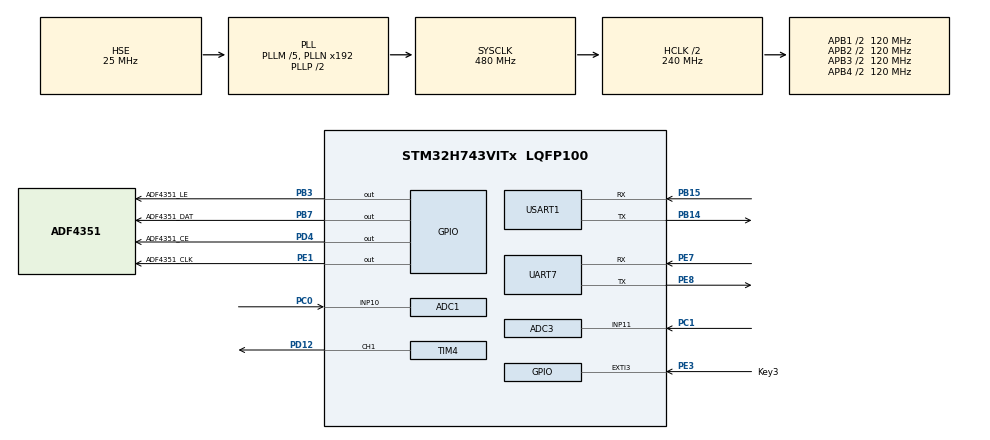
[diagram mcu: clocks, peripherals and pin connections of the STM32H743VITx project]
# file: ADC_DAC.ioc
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ADC1.Channel-1\#ChannelRegularConversion=ADC_CHANNEL_10
ADC1.ClockPrescaler=ADC_CLOCK_ASYNC_DIV1
ADC1.ConversionDataManagement=ADC_CONVERSIONDATA_DMA_CIRCULAR
ADC1.ExternalTrigConv=ADC_EXTERNALTRIG_T15_TRGO
ADC1.NbrOfConversion=1
ADC1.NbrOfConversionFlag=1
ADC1.OffsetNumber-1\#ChannelRegularConversion=ADC_OFFSET_NONE
ADC1.OffsetSignedSaturation-1\#ChannelRegularConversion=DISABLE
ADC1.OversamplingMode=ENABLE
ADC1.Rank-1\#ChannelRegularConversion=1
ADC1.Ratio=1024
ADC1.RightBitShift=ADC_RIGHTBITSHIFT_10
ADC1.SamplingTime-1\#ChannelRegularConversion=ADC_SAMPLETIME_810CYCLES_5
ADC1.master=1
ADC3.Channel-0\#ChannelRegularConversion=ADC_CHANNEL_11
ADC3.ConversionDataManagement=ADC_CONVERSIONDATA_DMA_CIRCULAR
ADC3.ExternalTrigConv=ADC_EXTERNALTRIG_T1_TRGO
ADC3.NbrOfConversionFlag=1
ADC3.OffsetNumber-0\#ChannelRegularConversion=ADC_OFFSET_NONE
ADC3.OffsetSignedSaturation-0\#ChannelRegularConversion=DISABLE
ADC3.Rank-0\#ChannelRegularConversion=1
ADC3.SamplingTime-0\#ChannelRegularConversion=ADC_SAMPLETIME_1CYCLE_5
CORTEX_M7.AccessPermission-Cortex_Memory_Protection_Unit_Region0_Settings=MPU_REGION_FULL_ACCESS
CORTEX_M7.AccessPermission-Cortex_Memory_Protection_Unit_Region1_Settings=MPU_REGION_FULL_ACCESS
CORTEX_M7.AccessPermission-Cortex_Memory_Protection_Unit_Region2_Settings=MPU_REGION_FULL_ACCESS
CORTEX_M7.AccessPermission-Cortex_Memory_Protection_Unit_Region3_Settings=MPU_REGION_FULL_ACCESS
CORTEX_M7.AccessPermission-Cortex_Memory_Protection_Unit_Region4_Settings=MPU_REGION_FULL_ACCESS
CORTEX_M7.AccessPermission_S-Cortex_Memory_Protection_Unit_Region1_Settings_S=MPU_REGION_FULL_ACCESS
CORTEX_M7.AccessPermission_S-Cortex_Memory_Protection_Unit_Region2_Settings_S=MPU_REGION_FULL_ACCESS
CORTEX_M7.AccessPermission_Spec=MPU_REGION_FULL_ACCESS
CORTEX_M7.BaseAddress-Cortex_Memory_Protection_Unit_Region0_Settings=0x24000000
CORTEX_M7.BaseAddress-Cortex_Memory_Protection_Unit_Region1_Settings=0x30000000
CORTEX_M7.BaseAddress-Cortex_Memory_Protection_Unit_Region2_Settings=0x30020000
CORTEX_M7.BaseAddress-Cortex_Memory_Protection_Unit_Region3_Settings=0x30040000
CORTEX_M7.BaseAddress-Cortex_Memory_Protection_Unit_Region4_Settings=0x38000000
CORTEX_M7.BaseAddress_S-Cortex_Memory_Protection_Unit_Region1_Settings_S=0x30000000
CORTEX_M7.BaseAddress_S-Cortex_Memory_Protection_Unit_Region2_Settings_S=0x30020000
CORTEX_M7.BaseAddress_Spec=0x24000000
CORTEX_M7.CPU_DCache=Enabled
CORTEX_M7.CPU_ICache=Enabled
CORTEX_M7.DisableExec_S-Cortex_Memory_Protection_Unit_Region1_Settings_S=MPU_INSTRUCTION_ACCESS_ENABLE
CORTEX_M7.DisableExec_S-Cortex_Memory_Protection_Unit_Region2_Settings_S=MPU_INSTRUCTION_ACCESS_ENABLE
CORTEX_M7.DisableExec_Spec=MPU_INSTRUCTION_ACCESS_ENABLE
CORTEX_M7.Enable-Cortex_Memory_Protection_Unit_Region0_Settings=MPU_REGION_ENABLE
CORTEX_M7.Enable-Cortex_Memory_Protection_Unit_Region1_Settings=MPU_REGION_ENABLE
CORTEX_M7.Enable-Cortex_Memory_Protection_Unit_Region2_Settings=MPU_REGION_ENABLE
CORTEX_M7.Enable-Cortex_Memory_Protection_Unit_Region3_Settings=MPU_REGION_ENABLE
CORTEX_M7.Enable-Cortex_Memory_Protection_Unit_Region4_Settings=MPU_REGION_ENABLE
CORTEX_M7.Enable_S-Cortex_Memory_Protection_Unit_Region1_Settings_S=MPU_REGION_ENABLE
CORTEX_M7.Enable_S-Cortex_Memory_Protection_Unit_Region2_Settings_S=MPU_REGION_ENABLE
CORTEX_M7.IsBufferable-Cortex_Memory_Protection_Unit_Region0_Settings=MPU_ACCESS_NOT_BUFFERABLE
CORTEX_M7.IsBufferable_S-Cortex_Memory_Protection_Unit_Region1_Settings_S=MPU_ACCESS_NOT_BUFFERABLE
CORTEX_M7.IsBufferable_Spec=MPU_ACCESS_BUFFERABLE
CORTEX_M7.IsCacheable-Cortex_Memory_Protection_Unit_Region0_Settings=MPU_ACCESS_NOT_CACHEABLE
CORTEX_M7.IsCacheable_S-Cortex_Memory_Protection_Unit_Region1_Settings_S=MPU_ACCESS_NOT_CACHEABLE
CORTEX_M7.IsCacheable_Spec=MPU_ACCESS_CACHEABLE
CORTEX_M7.IsShareable_Spec=MPU_ACCESS_NOT_SHAREABLE
CORTEX_M7.MPU_Control=MPU_PRIVILEGED_DEFAULT
CORTEX_M7.Size-Cortex_Memory_Protection_Unit_Region0_Settings=MPU_REGION_SIZE_512KB
CORTEX_M7.Size-Cortex_Memory_Protection_Unit_Region1_Settings=MPU_REGION_SIZE_128KB
CORTEX_M7.Size-Cortex_Memory_Protection_Unit_Region2_Settings=MPU_REGION_SIZE_128KB
CORTEX_M7.Size-Cortex_Memory_Protection_Unit_Region3_Settings=MPU_REGION_SIZE_32KB
CORTEX_M7.Size-Cortex_Memory_Protection_Unit_Region4_Settings=MPU_REGION_SIZE_64KB
CORTEX_M7.Size_S-Cortex_Memory_Protection_Unit_Region1_Settings_S=MPU_REGION_SIZE_128KB
CORTEX_M7.Size_S-Cortex_Memory_Protection_Unit_Region2_Settings_S=MPU_REGION_SIZE_128KB
CORTEX_M7.Size_Spec=MPU_REGION_SIZE_512KB
CORTEX_M7.SubRegionDisable_Spec=0x0
CORTEX_M7.TypeExtField-Cortex_Memory_Protection_Unit_Region0_Settings=MPU_TEX_LEVEL1
CORTEX_M7.TypeExtField-Cortex_Memory_Protection_Unit_Region1_Settings=MPU_TEX_LEVEL1
CORTEX_M7.TypeExtField-Cortex_Memory_Protection_Unit_Region2_Settings=MPU_TEX_LEVEL1
CORTEX_M7.TypeExtField-Cortex_Memory_Protection_Unit_Region3_Settings=MPU_TEX_LEVEL1
CORTEX_M7.TypeExtField-Cortex_Memory_Protection_Unit_Region4_Settings=MPU_TEX_LEVEL1
CORTEX_M7.TypeExtField_S-Cortex_Memory_Protection_Unit_Region1_Settings_S=MPU_TEX_LEVEL1
CORTEX_M7.TypeExtField_S-Cortex_Memory_Protection_Unit_Region2_Settings_S=MPU_TEX_LEVEL1
CORTEX_M7.TypeExtField_Spec=MPU_TEX_LEVEL1
Dma.ADC1.0.Direction=DMA_PERIPH_TO_MEMORY
Dma.ADC1.0.EventEnable=DISABLE
Dma.ADC1.0.FIFOMode=DMA_FIFOMODE_DISABLE
Dma.ADC1.0.Instance=DMA1_Stream1
Dma.ADC1.0.MemDataAlignment=DMA_MDATAALIGN_HALFWORD
Dma.ADC1.0.MemInc=DMA_MINC_ENABLE
Dma.ADC1.0.Mode=DMA_NORMAL
Dma.ADC1.0.PeriphDataAlignment=DMA_PDATAALIGN_HALFWORD
Dma.ADC1.0.PeriphInc=DMA_PINC_DISABLE
Dma.ADC1.0.Polarity=HAL_DMAMUX_REQ_GEN_RISING
Dma.ADC1.0.Priority=DMA_PRIORITY_HIGH
Dma.ADC1.0.RequestNumber=1
Dma.ADC1.0.SignalID=NONE
Dma.ADC1.0.SyncEnable=DISABLE
Dma.ADC1.0.SyncPolarity=HAL_DMAMUX_SYNC_NO_EVENT
Dma.ADC1.0.SyncRequestNumber=1
Dma.ADC1.0.SyncSignalID=NONE
Dma.ADC3.1.Direction=DMA_PERIPH_TO_MEMORY
Dma.ADC3.1.EventEnable=DISABLE
Dma.ADC3.1.FIFOMode=DMA_FIFOMODE_DISABLE
Dma.ADC3.1.Instance=DMA2_Stream1
Dma.ADC3.1.MemDataAlignment=DMA_MDATAALIGN_HALFWORD
Dma.ADC3.1.MemInc=DMA_MINC_ENABLE
Dma.ADC3.1.Mode=DMA_NORMAL
Dma.ADC3.1.PeriphDataAlignment=DMA_PDATAALIGN_HALFWORD
Dma.ADC3.1.PeriphInc=DMA_PINC_DISABLE
Dma.ADC3.1.Polarity=HAL_DMAMUX_REQ_GEN_RISING
Dma.ADC3.1.Priority=DMA_PRIORITY_HIGH
Dma.ADC3.1.RequestNumber=1
Dma.ADC3.1.SignalID=NONE
Dma.ADC3.1.SyncEnable=DISABLE
Dma.ADC3.1.SyncPolarity=HAL_DMAMUX_SYNC_NO_EVENT
Dma.ADC3.1.SyncRequestNumber=1
Dma.ADC3.1.SyncSignalID=NONE
Dma.Request0=ADC1
Dma.Request1=ADC3
Mcu.Family=STM32H7
Mcu.Name=STM32H743VITx
Mcu.Package=LQFP100
NVIC.DMA1_Stream1_IRQn=true\:0\:0\:false\:false\:true\:false\:true\:true
NVIC.DMA2_Stream1_IRQn=true\:0\:0\:false\:false\:true\:false\:true\:true
NVIC.EXTI3_IRQn=true\:0\:0\:false\:false\:true\:true\:true\:true
NVIC.PriorityGroup=NVIC_PRIORITYGROUP_4
NVIC.TIM3_IRQn=true\:0\:0\:false\:false\:true\:true\:true\:true
NVIC.TIM4_IRQn=true\:0\:0\:false\:false\:true\:true\:true\:true
NVIC.UART7_IRQn=true\:0\:0\:false\:false\:true\:true\:true\:true
PA13\ (JTMS/SWDIO).Mode=Serial_Wire
PA13\ (JTMS/SWDIO).Signal=DEBUG_JTMS-SWDIO
PA14\ (JTCK/SWCLK).Mode=Serial_Wire
PA14\ (JTCK/SWCLK).Signal=DEBUG_JTCK-SWCLK
PB14.Mode=Asynchronous
PB14.Signal=USART1_TX
PB15.Mode=Asynchronous
PB15.Signal=USART1_RX
PB3\ (JTDO/TRACESWO).GPIO_Label=ADF4351_LE
PB3\ (JTDO/TRACESWO).GPIO_PuPd=GPIO_PULLUP
PB3\ (JTDO/TRACESWO).GPIO_Speed=GPIO_SPEED_FREQ_VERY_HIGH
PB3\ (JTDO/TRACESWO).PinState=GPIO_PIN_SET
PB3\ (JTDO/TRACESWO).Signal=GPIO_Output
PB7.GPIO_Label=ADF4351_DAT
PB7.GPIO_PuPd=GPIO_PULLUP
PB7.GPIO_Speed=GPIO_SPEED_FREQ_VERY_HIGH
PB7.PinState=GPIO_PIN_SET
PB7.Signal=GPIO_Output
PC0.Signal=ADCx_INP10
PC1.Signal=ADCx_INP11
PD12.Signal=S_TIM4_CH1
PD4.GPIO_Label=ADF4351_CE
PD4.GPIO_PuPd=GPIO_PULLUP
PD4.GPIO_Speed=GPIO_SPEED_FREQ_VERY_HIGH
PD4.PinState=GPIO_PIN_SET
PD4.Signal=GPIO_Output
PE1.GPIO_Label=ADF4351_CLK
PE1.GPIO_PuPd=GPIO_PULLUP
PE1.GPIO_Speed=GPIO_SPEED_FREQ_VERY_HIGH
PE1.PinState=GPIO_PIN_SET
PE1.Signal=GPIO_Output
PE3.GPIO_Label=Key3
PE3.GPIO_ModeDefaultEXTI=GPIO_MODE_IT_FALLING
PE3.GPIO_PuPd=GPIO_PULLUP
PE3.Signal=GPXTI3
PE7.Mode=Asynchronous
PE7.Signal=UART7_RX
PE8.Mode=Asynchronous
PE8.Signal=UART7_TX
PH0-OSC_IN\ (PH0).Mode=HSE-External-Oscillator
PH0-OSC_IN\ (PH0).Signal=RCC_OSC_IN
PH1-OSC_OUT\ (PH1).Mode=HSE-External-Oscillator
PH1-OSC_OUT\ (PH1).Signal=RCC_OSC_OUT
ProjectManager.HeapSize=0x200
ProjectManager.StackSize=0x7400
ProjectManager.TargetToolchain=MDK-ARM V5.32
RCC.ADCFreq_Value=72000000
RCC.APB1Freq_Value=120000000
RCC.APB2Freq_Value=120000000
RCC.APB3Freq_Value=120000000
RCC.APB4Freq_Value=120000000
RCC.CortexFreq_Value=480000000
RCC.D1PPRE=RCC_APB3_DIV2
RCC.D2PPRE1=RCC_APB1_DIV2
RCC.D2PPRE2=RCC_APB2_DIV2
RCC.D3PPRE=RCC_APB4_DIV2
RCC.DIVM1=5
RCC.DIVM2=25
RCC.DIVN1=192
RCC.DIVN2=360
RCC.DIVP2=5
RCC.HCLKFreq_Value=240000000
RCC.HPRE=RCC_HCLK_DIV2
RCC.HSE_Timout=5000
RCC.PLLSourceVirtual=RCC_PLLSOURCE_HSE
RCC.ProductRev=revV
RCC.SYSCLKFreq_VALUE=480000000
RCC.SYSCLKSource=RCC_SYSCLKSOURCE_PLLCLK
RCC.USBFreq_Value=480000000
SH.ADCx_INP10.0=ADC2_INP10
SH.ADCx_INP10.1=ADC1_INP10,IN10-Single-Ended
SH.ADCx_INP11.0=ADC3_INP11,IN11-Single-Ended
SH.S_TIM4_CH1.0=TIM4_CH1,PWM Generation1 CH1
TIM1.AutoReloadPreload=TIM_AUTORELOAD_PRELOAD_ENABLE
TIM1.Period=5-1
TIM1.Prescaler=240-1
TIM1.TIM_MasterOutputTrigger=TIM_TRGO_UPDATE
TIM15.AutoReloadPreload=TIM_AUTORELOAD_PRELOAD_ENABLE
TIM15.Period=50-1
TIM15.Prescaler=60-1
TIM15.TIM_MasterOutputTrigger=TIM_TRGO_UPDATE
TIM2.AutoReloadPreload=TIM_AUTORELOAD_PRELOAD_ENABLE
TIM2.Period=20-1
TIM2.Prescaler=240-1
TIM3.AutoReloadPreload=TIM_AUTORELOAD_PRELOAD_ENABLE
TIM3.Period=100-1
TIM3.Prescaler=240-1
TIM4.AutoReloadPreload=TIM_AUTORELOAD_PRELOAD_ENABLE
TIM4.Channel-PWM\ Generation1\ CH1=TIM_CHANNEL_1
TIM4.Period=10-1
TIM4.Prescaler=3-1
TIM4.Pulse-PWM\ Generation1\ CH1=5-1
TIM6.AutoReloadPreload=TIM_AUTORELOAD_PRELOAD_ENABLE
TIM6.Period=200-1
TIM6.Prescaler=12-1
TIM6.TIM_MasterOutputTrigger=TIM_TRGO_UPDATE
TIM7.Prescaler=239
UART7.RXFIFOThreshold=RXFIFO_THRESHOLD_1EIGHTHFULL
UART7.TXFIFOThreshold=TXFIFO_THRESHOLD_1EIGHTHFULL
USART1.VirtualMode-Asynchronous=VM_ASYNC
VP_TIM15_VS_ClockSourceINT.Mode=Internal
VP_TIM1_VS_ClockSourceINT.Mode=Internal
VP_TIM2_VS_ClockSourceINT.Mode=Internal
VP_TIM3_VS_ClockSourceINT.Mode=Internal
VP_TIM4_VS_ClockSourceINT.Mode=Internal
VP_TIM6_VS_ClockSourceINT.Mode=Enable_Timer
VP_TIM7_VS_ClockSourceINT.Mode=Enable_Timer
board=custom

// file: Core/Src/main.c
/* USER CODE BEGIN Header */
/**
  ******************************************************************************
  * @file           : main.c
  * @brief          : Main program body
  ******************************************************************************
  * @attention
  *
  * Copyright (c) 2022 STMicroelectronics.
  * All rights reserved.
  *
  * This software is licensed under terms that can be found in the LICENSE file
  * in the root directory of this software component.
  * If no LICENSE file comes with this software, it is provided AS-IS.
  *
  ******************************************************************************
  */
/* USER CODE END Header */
#include "main.h"
#include "adc.h"
#include "dma.h"
#include "tim.h"
#include "usart.h"
#include "gpio.h"

/* USER CODE BEGIN Includes */
int Chande_flag = 0;
char screen_message[30] = {0};
uint32_t frequency = 25000000;
/* USER CODE END Includes */

/* USER CODE BEGIN PTD */
ALIGN_32BYTES (uint16_t adc1_data[10000])  __attribute__((section(".ARM.__at_0x30020000")));
ALIGN_32BYTES (uint16_t adc3_data[2000]) 	__attribute__((section(".ARM.__at_0x30000000")));

//ALIGN_32BYTES (uint16_t comp[1000]) 	__attribute__((section(".ARM.__at_0x300200000")));
uint16_t comp[2000] = {0};
__IO uint8_t AdcConvEnd = 0;//表示adc采集完成__at_0x24000000
float scan_data[480] = {0};
float Upper_K = 0;
float InputRes = 0;

float InputAC = 0;

float InputAC_kailu = 0;

float OutputAC = 0;

float OutputResAC = 0;

float OutputRes = 0;

float Gain = 0;

uint16_t Error_flag = 0;

float Check_OutputRes = 0;

float Check_InputRes = 0;

float Check_Gain = 0;

float Check_DC = 0;

float OutputDC = 0;

uint16_t Check_flag = 0;

float CheckAC = 0;

void adc_saopin(void)
{
//	HAL_ADC_DeInit(&hadc1);
	MX_ADC1_Init();	//初始化调用放这里, 确保在MX_DMA_Init()初始化后面
	Delay_Us(100);	//有地方说这里可以等等电压稳定后再校准

	if (HAL_ADCEx_Calibration_Start(&hadc1, ADC_CALIB_OFFSET, ADC_SINGLE_ENDED) != HAL_OK)
	{
			printf("hadc1 error with HAL_ADCEx_Calibration_Start\r\n");
			Error_Handler();
	}

	if (HAL_ADC_Start_DMA(&hadc1, (uint32_t *)adc1_data, 16) != HAL_OK)
	{
			printf("hadc1 error with HAL_ADC_Start_DMA\r\n");
			Error_Handler();
	}

	HAL_TIM_Base_Start(&htim15);
	while (!AdcConvEnd);
	AdcConvEnd = 0;
	HAL_ADC_DeInit(&hadc1);
}

void adc_init(void)
{
//	HAL_ADC_DeInit(&hadc1);
	MX_ADC1_Init();	//初始化调用放这里, 确保在MX_DMA_Init()初始化后面
	HAL_Delay(100);	//有地方说这里可以等等电压稳定后再校准

	if (HAL_ADCEx_Calibration_Start(&hadc1, ADC_CALIB_OFFSET, ADC_SINGLE_ENDED) != HAL_OK)
	{
			printf("hadc1 error with HAL_ADCEx_Calibration_Start\r\n");
			Error_Handler();
	}

	if (HAL_ADC_Start_DMA(&hadc1, (uint32_t *)adc1_data, 10000) != HAL_OK)
	{
			printf("hadc1 error with HAL_ADC_Start_DMA\r\n");
			Error_Handler();
	}

	HAL_TIM_Base_Start(&htim15);
	while (!AdcConvEnd);
	AdcConvEnd = 0;
	HAL_ADC_DeInit(&hadc1);
}

void adc3_init(void)
{
//	HAL_ADC_DeInit(&hadc3);
	MX_ADC3_Init();	//初始化调用放这里, 确保在MX_DMA_Init()初始化后面
	HAL_Delay(100);	//有地方说这里可以等等电压稳定后再校准

	if (HAL_ADCEx_Calibration_Start(&hadc3, ADC_CALIB_OFFSET, ADC_SINGLE_ENDED) != HAL_OK)
	{
			printf("hadc1 error with HAL_ADCEx_Calibration_Start\r\n");
			Error_Handler();
	}

	if (HAL_ADC_Start_DMA(&hadc3, (uint32_t *)adc3_data, 2000) != HAL_OK)
	{
			printf("hadc3 error with HAL_ADC_Start_DMA\r\n");
			Error_Handler();
	}

	HAL_TIM_Base_Start(&htim1);
	while (!AdcConvEnd);
	AdcConvEnd = 0;
		HAL_ADC_DeInit(&hadc3);

}
/* USER CODE END PTD */

void SystemClock_Config(void);
void PeriphCommonClock_Config(void);
static void MPU_Config(void);

int main(void)
{
  /* USER CODE BEGIN 1 */
	//系统初始化代码
//	{
  /* USER CODE END 1 */

  /* MPU Configuration--------------------------------------------------------*/
  MPU_Config();

  /* Enable I-Cache---------------------------------------------------------*/
  SCB_EnableICache();

  /* Enable D-Cache---------------------------------------------------------*/
  SCB_EnableDCache();

  /* MCU Configuration--------------------------------------------------------*/

  /* Reset of all peripherals, Initializes the Flash interface and the Systick. */
  HAL_Init();

  /* USER CODE BEGIN Init */
	uint32_t saopin = 0;
  /* USER CODE END Init */

  /* Configure the system clock */
  SystemClock_Config();

/* Configure the peripherals common clocks */
  PeriphCommonClock_Config();

  /* Initialize all configured peripherals */
  MX_GPIO_Init();
  MX_DMA_Init();
  MX_TIM7_Init();
  MX_TIM6_Init();
  MX_ADC1_Init();
  MX_USART1_UART_Init();
  MX_ADC3_Init();
  MX_TIM15_Init();
  MX_TIM1_Init();
  MX_UART7_Init();
  MX_TIM2_Init();
  MX_TIM3_Init();
  MX_TIM4_Init();
  /* USER CODE BEGIN 2 */
	HAL_TIM_PWM_Start(&htim4,TIM_CHANNEL_1);  //开启PWM通道1
	double data = 0;
	ADS1256_Init(ADS1256_GAIN_1,ADS1256_DRATE_1000SPS);
	Init_ad9910();
	Write_Amplitude(100);
	Freq_convert(25000000);
	float adata = 0;
	ADF4351Init();
	ADF4351WriteFreq(200);	//设置固定输出频率为400MHZ
	while(1)
	{
		adc_saopin();
		for (u16 temp = 0; temp< 16;temp++)
		{
			adata = (float)(adc1_data[temp])/65536*3300;
			printf("%f\r\n", adata);
		}

	}

  /* USER CODE END 2 */

  /* Infinite loop */
  while (1)
  {

  }
}

void SystemClock_Config(void)
{
  RCC_OscInitTypeDef RCC_OscInitStruct = {0};
  RCC_ClkInitTypeDef RCC_ClkInitStruct = {0};

  /** Supply configuration update enable
  */
  HAL_PWREx_ConfigSupply(PWR_LDO_SUPPLY);

  /** Configure the main internal regulator output voltage
  */
  __HAL_PWR_VOLTAGESCALING_CONFIG(PWR_REGULATOR_VOLTAGE_SCALE1);

  while(!__HAL_PWR_GET_FLAG(PWR_FLAG_VOSRDY)) {}

  __HAL_RCC_SYSCFG_CLK_ENABLE();
  __HAL_PWR_VOLTAGESCALING_CONFIG(PWR_REGULATOR_VOLTAGE_SCALE0);

  while(!__HAL_PWR_GET_FLAG(PWR_FLAG_VOSRDY)) {}

  /** Initializes the RCC Oscillators according to the specified parameters
  * in the RCC_OscInitTypeDef structure.
  */
  RCC_OscInitStruct.OscillatorType = RCC_OSCILLATORTYPE_HSE;
  RCC_OscInitStruct.HSEState = RCC_HSE_ON;
  RCC_OscInitStruct.PLL.PLLState = RCC_PLL_ON;
  RCC_OscInitStruct.PLL.PLLSource = RCC_PLLSOURCE_HSE;
  RCC_OscInitStruct.PLL.PLLM = 5;
  RCC_OscInitStruct.PLL.PLLN = 192;
  RCC_OscInitStruct.PLL.PLLP = 2;
  RCC_OscInitStruct.PLL.PLLQ = 2;
  RCC_OscInitStruct.PLL.PLLR = 2;
  RCC_OscInitStruct.PLL.PLLRGE = RCC_PLL1VCIRANGE_2;
  RCC_OscInitStruct.PLL.PLLVCOSEL = RCC_PLL1VCOWIDE;
  RCC_OscInitStruct.PLL.PLLFRACN = 0;
  if (HAL_RCC_OscConfig(&RCC_OscInitStruct) != HAL_OK)
  {
    Error_Handler();
  }

  /** Initializes the CPU, AHB and APB buses clocks
  */
  RCC_ClkInitStruct.ClockType = RCC_CLOCKTYPE_HCLK|RCC_CLOCKTYPE_SYSCLK
                              |RCC_CLOCKTYPE_PCLK1|RCC_CLOCKTYPE_PCLK2
                              |RCC_CLOCKTYPE_D3PCLK1|RCC_CLOCKTYPE_D1PCLK1;
  RCC_ClkInitStruct.SYSCLKSource = RCC_SYSCLKSOURCE_PLLCLK;
  RCC_ClkInitStruct.SYSCLKDivider = RCC_SYSCLK_DIV1;
  RCC_ClkInitStruct.AHBCLKDivider = RCC_HCLK_DIV2;
  RCC_ClkInitStruct.APB3CLKDivider = RCC_APB3_DIV2;
  RCC_ClkInitStruct.APB1CLKDivider = RCC_APB1_DIV2;
  RCC_ClkInitStruct.APB2CLKDivider = RCC_APB2_DIV2;
  RCC_ClkInitStruct.APB4CLKDivider = RCC_APB4_DIV2;

  if (HAL_RCC_ClockConfig(&RCC_ClkInitStruct, FLASH_LATENCY_4) != HAL_OK)
  {
    Error_Handler();
  }
}

void PeriphCommonClock_Config(void)
{
  RCC_PeriphCLKInitTypeDef PeriphClkInitStruct = {0};

  /** Initializes the peripherals clock
  */
  PeriphClkInitStruct.PeriphClockSelection = RCC_PERIPHCLK_ADC;
  PeriphClkInitStruct.PLL2.PLL2M = 25;
  PeriphClkInitStruct.PLL2.PLL2N = 360;
  PeriphClkInitStruct.PLL2.PLL2P = 5;
  PeriphClkInitStruct.PLL2.PLL2Q = 2;
  PeriphClkInitStruct.PLL2.PLL2R = 2;
  PeriphClkInitStruct.PLL2.PLL2RGE = RCC_PLL2VCIRANGE_0;
  PeriphClkInitStruct.PLL2.PLL2VCOSEL = RCC_PLL2VCOWIDE;
  PeriphClkInitStruct.PLL2.PLL2FRACN = 0;
  PeriphClkInitStruct.AdcClockSelection = RCC_ADCCLKSOURCE_PLL2;
  if (HAL_RCCEx_PeriphCLKConfig(&PeriphClkInitStruct) != HAL_OK)
  {
    Error_Handler();
  }
}

/* USER CODE BEGIN 4 */
void HAL_ADC_ConvCpltCallback(ADC_HandleTypeDef* hadc)
{
   if(hadc->Instance == ADC1)
	{
      //SCB_InvalidateDCache_by_Addr((uint32_t *) &adc1_data[0], ADC1_BUFFER_SIZE);
   }
	 AdcConvEnd = 1;
}

/* USER CODE END 4 */

/* MPU Configuration */

void MPU_Config(void)
{
  MPU_Region_InitTypeDef MPU_InitStruct = {0};

  /* Disables the MPU */
  HAL_MPU_Disable();

  /** Initializes and configures the Region and the memory to be protected
  */
  MPU_InitStruct.Enable = MPU_REGION_ENABLE;
  MPU_InitStruct.Number = MPU_REGION_NUMBER0;
  MPU_InitStruct.BaseAddress = 0x24000000;
  MPU_InitStruct.Size = MPU_REGION_SIZE_512KB;
  MPU_InitStruct.SubRegionDisable = 0x0;
  MPU_InitStruct.TypeExtField = MPU_TEX_LEVEL1;
  MPU_InitStruct.AccessPermission = MPU_REGION_FULL_ACCESS;
  MPU_InitStruct.DisableExec = MPU_INSTRUCTION_ACCESS_ENABLE;
  MPU_InitStruct.IsShareable = MPU_ACCESS_NOT_SHAREABLE;
  MPU_InitStruct.IsCacheable = MPU_ACCESS_NOT_CACHEABLE;
  MPU_InitStruct.IsBufferable = MPU_ACCESS_NOT_BUFFERABLE;

  HAL_MPU_ConfigRegion(&MPU_InitStruct);

  /** Initializes and configures the Region and the memory to be protected
  */
  MPU_InitStruct.Number = MPU_REGION_NUMBER1;
  MPU_InitStruct.BaseAddress = 0x30000000;
  MPU_InitStruct.Size = MPU_REGION_SIZE_128KB;

  HAL_MPU_ConfigRegion(&MPU_InitStruct);

  /** Initializes and configures the Region and the memory to be protected
  */
  MPU_InitStruct.Number = MPU_REGION_NUMBER2;
  MPU_InitStruct.BaseAddress = 0x30020000;

  HAL_MPU_ConfigRegion(&MPU_InitStruct);

  /** Initializes and configures the Region and the memory to be protected
  */
  MPU_InitStruct.Number = MPU_REGION_NUMBER3;
  MPU_InitStruct.BaseAddress = 0x30040000;
  MPU_InitStruct.Size = MPU_REGION_SIZE_32KB;

  HAL_MPU_ConfigRegion(&MPU_InitStruct);

  /** Initializes and configures the Region and the memory to be protected
  */
  MPU_InitStruct.Number = MPU_REGION_NUMBER4;
  MPU_InitStruct.BaseAddress = 0x38000000;
  MPU_InitStruct.Size = MPU_REGION_SIZE_64KB;

  HAL_MPU_ConfigRegion(&MPU_InitStruct);
  /* Enables the MPU */
  HAL_MPU_Enable(MPU_PRIVILEGED_DEFAULT);

}

void Error_Handler(void)
{
  __disable_irq();
  while (1)
  {
  }
}
